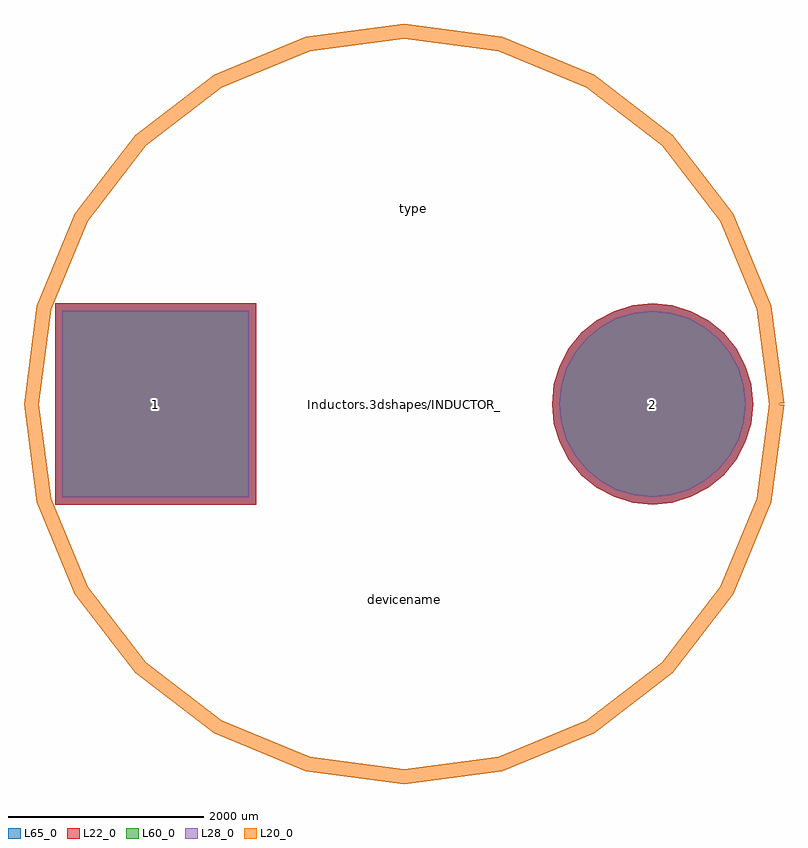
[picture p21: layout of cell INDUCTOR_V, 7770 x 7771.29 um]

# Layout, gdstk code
import gdstk
lib = gdstk.Library(unit=1e-6, precision=1e-09)
def R(c, l, rs):  # rectangles x0, y0, x1, y1
    for r in rs: c.add(gdstk.rectangle(r[:2], r[2:], *l))
def P(c, l, *ps):  # polygons
    for p in ps: c.add(gdstk.Polygon(p, *l))
L20_0 = (20, 0)
L22_0 = (22, 0)
L28_0 = (28, 0)
L60_0 = (60, 0)
L65_0 = (65, 0)

inductor_v = lib.new_cell('INDUCTOR_V')
R(inductor_v, L22_0, [(-3567.5,-1027.5,-1512.5,1027.5)])
P(inductor_v, L22_0, [(3567.5,0),(3547.757,200.455),(3489.286,393.207),(3394.335,570.848),(3266.552,726.552),(3110.848,854.335),(2933.207,949.286),(2740.455,1007.757),(2540,1027.5),(2339.545,1007.757),(2146.793,949.286),(1969.152,854.335),(1813.448,726.552),(1685.665,570.848),(1590.714,393.207),(1532.243,200.455),(1512.5,0),(1532.243,-200.455),(1590.714,-393.207),(1685.665,-570.848),(1813.448,-726.552),(1969.152,-854.335),(2146.793,-949.286),(2339.545,-1007.757),(2540,-1027.5),(2740.455,-1007.757),(2933.207,-949.286),(3110.848,-854.335),(3266.552,-726.552),(3394.335,-570.848),(3489.286,-393.207),(3547.757,-200.455)])
R(inductor_v, L28_0, [(-3492.5,-952.5,-1587.5,952.5)])
P(inductor_v, L28_0, [(3492.5,0),(3474.198,185.824),(3419.995,364.506),(3331.975,529.181),(3213.519,673.519),(3069.181,791.975),(2904.506,879.995),(2725.824,934.198),(2540,952.5),(2354.176,934.198),(2175.494,879.995),(2010.819,791.975),(1866.481,673.519),(1748.025,529.181),(1660.005,364.506),(1605.802,185.824),(1587.5,0),(1605.802,-185.824),(1660.005,-364.506),(1748.025,-529.181),(1866.481,-673.519),(2010.819,-791.975),(2175.494,-879.995),(2354.176,-934.198),(2540,-952.5),(2725.824,-934.198),(2904.506,-879.995),(3069.181,-791.975),(3213.519,-673.519),(3331.975,-529.181),(3419.995,-364.506),(3474.198,-185.824)])
R(inductor_v, L60_0, [(-3492.5,-952.5,-1587.5,952.5)])
P(inductor_v, L60_0, [(3492.5,0),(3474.198,185.824),(3419.995,364.506),(3331.975,529.181),(3213.519,673.519),(3069.181,791.975),(2904.506,879.995),(2725.824,934.198),(2540,952.5),(2354.176,934.198),(2175.494,879.995),(2010.819,791.975),(1866.481,673.519),(1748.025,529.181),(1660.005,364.506),(1605.802,185.824),(1587.5,0),(1605.802,-185.824),(1660.005,-364.506),(1748.025,-529.181),(1866.481,-673.519),(2010.819,-791.975),(2175.494,-879.995),(2354.176,-934.198),(2540,-952.5),(2725.824,-934.198),(2904.506,-879.995),(3069.181,-791.975),(3213.519,-673.519),(3331.975,-529.181),(3419.995,-364.506),(3474.198,-185.824)])
R(inductor_v, L65_0, [(-3567.5,-1027.5,-1512.5,1027.5)])
P(inductor_v, L65_0, [(3567.5,0),(3547.757,200.455),(3489.286,393.207),(3394.335,570.848),(3266.552,726.552),(3110.848,854.335),(2933.207,949.286),(2740.455,1007.757),(2540,1027.5),(2339.545,1007.757),(2146.793,949.286),(1969.152,854.335),(1813.448,726.552),(1685.665,570.848),(1590.714,393.207),(1532.243,200.455),(1512.5,0),(1532.243,-200.455),(1590.714,-393.207),(1685.665,-570.848),(1813.448,-726.552),(1969.152,-854.335),(2146.793,-949.286),(2339.545,-1007.757),(2540,-1027.5),(2740.455,-1007.757),(2933.207,-949.286),(3110.848,-854.335),(3266.552,-726.552),(3394.335,-570.848),(3489.286,-393.207),(3547.757,-200.455)])
inductor_v.add(gdstk.FlexPath([(3810,0),(3680.177,986.101),(3299.557,1905),(2694.077,2694.077),(1905,3299.557),(986.101,3680.177),(0,3810),(-986.101,3680.177),(-1905,3299.557),(-2694.077,2694.077),(-3299.557,1905),(-3680.177,986.101),(-3810,0),(-3680.177,-986.101),(-3299.557,-1905),(-2694.077,-2694.077),(-1905,-3299.557),(-986.101,-3680.177),(0,-3810),(986.101,-3680.177),(1905,-3299.557),(2694.077,-2694.077),(3299.557,-1905),(3680.177,-986.101),(3810,0)], 149.998, ends="flush", simple_path=True, layer=20, datatype=0))  # L20_0
inductor_v.add(gdstk.Label('Inductors.3dshapes/INDUCTOR_V.wrl', (0,0), layer=12, texttype=0))
inductor_v.add(gdstk.Label('2', (2540,0), layer=28, texttype=0))
inductor_v.add(gdstk.Label('1', (-2540,0), layer=28, texttype=0))
inductor_v.add(gdstk.Label('type', (99.06,1998.98), layer=9, texttype=0))
inductor_v.add(gdstk.Label('devicename', (0,-1998.98), layer=9, texttype=0))

lib.write_gds('INDUCTOR_V.gds')
